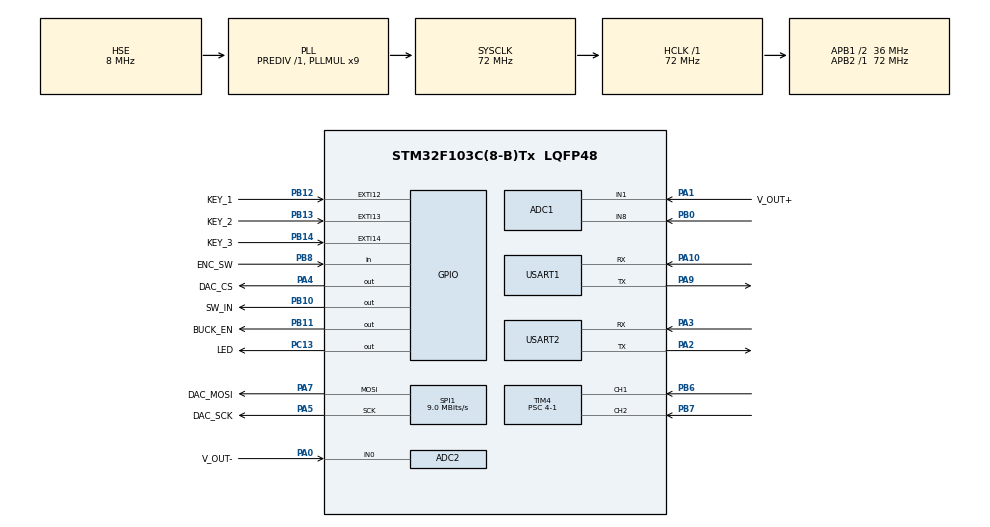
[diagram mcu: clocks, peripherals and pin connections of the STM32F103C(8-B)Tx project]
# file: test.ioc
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ADC1.Channel-0\#ChannelRegularConversion=ADC_CHANNEL_1
ADC1.Channel-1\#ChannelRegularConversion=ADC_CHANNEL_8
ADC1.ExternalTrigConv=ADC_EXTERNALTRIGCONV_T3_TRGO
ADC1.Mode=ADC_DUALMODE_REGSIMULT
ADC1.NbrOfConversion=2
ADC1.NbrOfConversionFlag=1
ADC1.Rank-0\#ChannelRegularConversion=1
ADC1.Rank-1\#ChannelRegularConversion=2
ADC1.SamplingTime-0\#ChannelRegularConversion=ADC_SAMPLETIME_71CYCLES_5
ADC1.SamplingTime-1\#ChannelRegularConversion=ADC_SAMPLETIME_71CYCLES_5
ADC1.master=1
ADC2.Channel-0\#ChannelRegularConversion=ADC_CHANNEL_0
ADC2.Mode=ADC_DUALMODE_REGSIMULT
ADC2.NbrOfConversion=1
ADC2.NbrOfConversionFlag=1
ADC2.Rank-0\#ChannelRegularConversion=1
ADC2.SamplingTime-0\#ChannelRegularConversion=ADC_SAMPLETIME_71CYCLES_5
Dma.ADC1.0.Direction=DMA_PERIPH_TO_MEMORY
Dma.ADC1.0.Instance=DMA1_Channel1
Dma.ADC1.0.MemDataAlignment=DMA_MDATAALIGN_WORD
Dma.ADC1.0.MemInc=DMA_MINC_ENABLE
Dma.ADC1.0.Mode=DMA_CIRCULAR
Dma.ADC1.0.PeriphDataAlignment=DMA_PDATAALIGN_WORD
Dma.ADC1.0.PeriphInc=DMA_PINC_DISABLE
Dma.ADC1.0.Priority=DMA_PRIORITY_LOW
Dma.Request0=ADC1
Mcu.Family=STM32F1
Mcu.Name=STM32F103C(8-B)Tx
Mcu.Package=LQFP48
NVIC.DMA1_Channel1_IRQn=true\:0\:0\:false\:false\:true\:false\:true\:true
NVIC.EXTI15_10_IRQn=true\:7\:0\:true\:false\:true\:true\:true\:true
NVIC.PriorityGroup=NVIC_PRIORITYGROUP_4
NVIC.USART1_IRQn=true\:0\:0\:false\:false\:true\:true\:true\:true
NVIC.USART2_IRQn=true\:0\:0\:false\:false\:true\:true\:true\:true
PA0-WKUP.GPIO_Label=V_OUT-
PA0-WKUP.Signal=ADCx_IN0
PA1.GPIO_Label=V_OUT+
PA1.Signal=ADCx_IN1
PA10.Mode=Asynchronous
PA10.Signal=USART1_RX
PA13.Mode=Serial_Wire
PA13.Signal=SYS_JTMS-SWDIO
PA14.Mode=Serial_Wire
PA14.Signal=SYS_JTCK-SWCLK
PA2.Mode=Asynchronous
PA2.Signal=USART2_TX
PA3.Mode=Asynchronous
PA3.Signal=USART2_RX
PA4.GPIO_Label=DAC_CS
PA4.GPIO_Speed=GPIO_SPEED_FREQ_LOW
PA4.PinState=GPIO_PIN_SET
PA4.Signal=GPIO_Output
PA5.GPIO_Label=DAC_SCK
PA5.Mode=TX_Only_Simplex_Unidirect_Master
PA5.Signal=SPI1_SCK
PA7.GPIO_Label=DAC_MOSI
PA7.Mode=TX_Only_Simplex_Unidirect_Master
PA7.Signal=SPI1_MOSI
PA9.Mode=Asynchronous
PA9.Signal=USART1_TX
PB0.Signal=ADCx_IN8
PB10.GPIO_Label=SW_IN
PB10.Signal=GPIO_Output
PB11.GPIO_Label=BUCK_EN
PB11.PinState=GPIO_PIN_RESET
PB11.Signal=GPIO_Output
PB12.GPIO_Label=KEY_1
PB12.GPIO_ModeDefaultEXTI=GPIO_MODE_IT_FALLING
PB12.Signal=GPXTI12
PB13.GPIO_Label=KEY_2
PB13.Signal=GPXTI13
PB14.GPIO_Label=KEY_3
PB14.GPIO_ModeDefaultEXTI=GPIO_MODE_IT_FALLING
PB14.Signal=GPXTI14
PB6.GPIO_PuPd=GPIO_PULLUP
PB6.Signal=S_TIM4_CH1
PB7.GPIO_PuPd=GPIO_PULLUP
PB7.Signal=S_TIM4_CH2
PB8.GPIO_Label=ENC_SW
PB8.Signal=GPIO_Input
PC13-TAMPER-RTC.GPIO_Label=LED
PC13-TAMPER-RTC.PinState=GPIO_PIN_SET
PC13-TAMPER-RTC.Signal=GPIO_Output
PD0-OSC_IN.Mode=HSE-External-Oscillator
PD0-OSC_IN.Signal=RCC_OSC_IN
PD1-OSC_OUT.Mode=HSE-External-Oscillator
PD1-OSC_OUT.Signal=RCC_OSC_OUT
ProjectManager.HeapSize=0x200
ProjectManager.StackSize=0x400
ProjectManager.TargetToolchain=CMake
RCC.ADCPresc=RCC_ADCPCLK2_DIV6
RCC.AHBFreq_Value=72000000
RCC.APB1CLKDivider=RCC_HCLK_DIV2
RCC.APB1Freq_Value=36000000
RCC.APB1TimFreq_Value=72000000
RCC.APB2Freq_Value=72000000
RCC.APB2TimFreq_Value=72000000
RCC.HCLKFreq_Value=72000000
RCC.PLLMUL=RCC_PLL_MUL9
RCC.PLLSourceVirtual=RCC_PLLSOURCE_HSE
RCC.SYSCLKFreq_VALUE=72000000
RCC.SYSCLKSource=RCC_SYSCLKSOURCE_PLLCLK
RCC.USBFreq_Value=72000000
SH.ADCx_IN0.0=ADC2_IN0,IN0
SH.ADCx_IN1.0=ADC1_IN1,IN1
SH.ADCx_IN8.0=ADC1_IN8,IN8
SH.S_TIM4_CH1.0=TIM4_CH1,Encoder_Interface
SH.S_TIM4_CH2.0=TIM4_CH2,Encoder_Interface
SPI1.BaudRatePrescaler=SPI_BAUDRATEPRESCALER_8
SPI1.CLKPhase=SPI_PHASE_1EDGE
SPI1.CalculateBaudRate=9.0 MBits/s
SPI1.DataSize=SPI_DATASIZE_16BIT
SPI1.Direction=SPI_DIRECTION_2LINES
SPI1.Mode=SPI_MODE_MASTER
SPI1.VirtualType=VM_MASTER
TIM3.Period=100-1
TIM3.Prescaler=72-1
TIM3.TIM_MasterOutputTrigger=TIM_TRGO_UPDATE
TIM4.ClockDivision=TIM_CLOCKDIVISION_DIV2
TIM4.EncoderMode=TIM_ENCODERMODE_TI12
TIM4.IC1Polarity=TIM_ICPOLARITY_FALLING
TIM4.IC2Polarity=TIM_ICPOLARITY_FALLING
TIM4.Period=5000-1
TIM4.Prescaler=4-1
USART1.VirtualMode=VM_ASYNC
USART2.VirtualMode=VM_ASYNC
VP_TIM3_VS_ClockSourceINT.Mode=Internal
board=custom

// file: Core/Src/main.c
/* USER CODE BEGIN Header */
/**
  ******************************************************************************
  * @file           : main.c
  * @brief          : Main program body
  ******************************************************************************
  * @attention
  *
  * Copyright (c) 2026 STMicroelectronics.
  * All rights reserved.
  *
  * This software is licensed under terms that can be found in the LICENSE file
  * in the root directory of this software component.
  * If no LICENSE file comes with this software, it is provided AS-IS.
  *
  ******************************************************************************
  */
/* USER CODE END Header */
#include "main.h"
#include "adc.h"
#include "dma.h"
#include "spi.h"
#include "tim.h"
#include "usart.h"
#include "gpio.h"

/* USER CODE BEGIN Includes */
#include <stdio.h>
#include <string.h>
#include "ENABLE.h"
#include "DAC.h"
#include "DSP_ADC.h"
#include "communication.h"
#include "PID.h"
/* USER CODE END Includes */

/* USER CODE BEGIN PD */

#define SEND_TIME 3000  //发送间隔

/* USER CODE END PD */

/* USER CODE BEGIN PV */
int counter = 0;                    //编码器值
char buff[50]="";
float DAC1_Target_voltage = 0.00f;
float DAC2_Target_voltage = 0.0f;
volatile float I_target = 0.0f;

/* USER CODE END PV */

void SystemClock_Config(void);

int main(void)
{

  /* MCU Configuration--------------------------------------------------------*/

  /* Reset of all peripherals, Initializes the Flash interface and the Systick. */
  HAL_Init();

  /* Configure the system clock */
  SystemClock_Config();

  /* Initialize all configured peripherals */
  MX_GPIO_Init();
  MX_DMA_Init();
  MX_ADC1_Init();
  MX_USART1_UART_Init();
  MX_USART2_UART_Init();
  MX_ADC2_Init();
  MX_SPI1_Init();
  MX_TIM4_Init();
  MX_TIM3_Init();
  /* USER CODE BEGIN 2 */
  BUCK_USART1_InitRx();
  ADC_Init(); // 开启ADC采样。

  DAC_Init(&hspi1);       //初始化DAC
  Safe_Init ();           //DAC1输出0.0f，DAC输出0.0f，BUCK关闭

  HAL_TIM_Encoder_Start(&htim4,TIM_CHANNEL_ALL);      //旋转编码器
  HAL_Delay(20);

  uint32_t last_tick = HAL_GetTick();
  uint32_t last_tick_buff = HAL_GetTick();
  int16_t last_counter = -1;

  /* USER CODE END 2 */

  /* Infinite loop */
  /* USER CODE BEGIN WHILE */
  while (1)
  {
    ENC_SW();
    ADC_Calculate();
    Encoder_Process();
    BUCK_Key1_Process();
    Key2_Process();
    Uart_Command_Parser();
    // BUCK_USART1_ParseStringCommand();
    if (HAL_GetTick() - last_tick >= SEND_TIME) {
      last_tick = HAL_GetTick();
      ADC_OUTPUT();
      DAC_OUTPUT();
    }
    /* USER CODE END WHILE */

  }
}

void SystemClock_Config(void)
{
  RCC_OscInitTypeDef RCC_OscInitStruct = {0};
  RCC_ClkInitTypeDef RCC_ClkInitStruct = {0};
  RCC_PeriphCLKInitTypeDef PeriphClkInit = {0};

  /** Initializes the RCC Oscillators according to the specified parameters
  * in the RCC_OscInitTypeDef structure.
  */
  RCC_OscInitStruct.OscillatorType = RCC_OSCILLATORTYPE_HSE;
  RCC_OscInitStruct.HSEState = RCC_HSE_ON;
  RCC_OscInitStruct.HSEPredivValue = RCC_HSE_PREDIV_DIV1;
  RCC_OscInitStruct.HSIState = RCC_HSI_ON;
  RCC_OscInitStruct.PLL.PLLState = RCC_PLL_ON;
  RCC_OscInitStruct.PLL.PLLSource = RCC_PLLSOURCE_HSE;
  RCC_OscInitStruct.PLL.PLLMUL = RCC_PLL_MUL9;
  if (HAL_RCC_OscConfig(&RCC_OscInitStruct) != HAL_OK)
  {
    Error_Handler();
  }

  /** Initializes the CPU, AHB and APB buses clocks
  */
  RCC_ClkInitStruct.ClockType = RCC_CLOCKTYPE_HCLK|RCC_CLOCKTYPE_SYSCLK
                              |RCC_CLOCKTYPE_PCLK1|RCC_CLOCKTYPE_PCLK2;
  RCC_ClkInitStruct.SYSCLKSource = RCC_SYSCLKSOURCE_PLLCLK;
  RCC_ClkInitStruct.AHBCLKDivider = RCC_SYSCLK_DIV1;
  RCC_ClkInitStruct.APB1CLKDivider = RCC_HCLK_DIV2;
  RCC_ClkInitStruct.APB2CLKDivider = RCC_HCLK_DIV1;

  if (HAL_RCC_ClockConfig(&RCC_ClkInitStruct, FLASH_LATENCY_2) != HAL_OK)
  {
    Error_Handler();
  }
  PeriphClkInit.PeriphClockSelection = RCC_PERIPHCLK_ADC;
  PeriphClkInit.AdcClockSelection = RCC_ADCPCLK2_DIV6;
  if (HAL_RCCEx_PeriphCLKConfig(&PeriphClkInit) != HAL_OK)
  {
    Error_Handler();
  }
}

void Error_Handler(void)
{
  __disable_irq();
  while (1)
  {
  }
}
